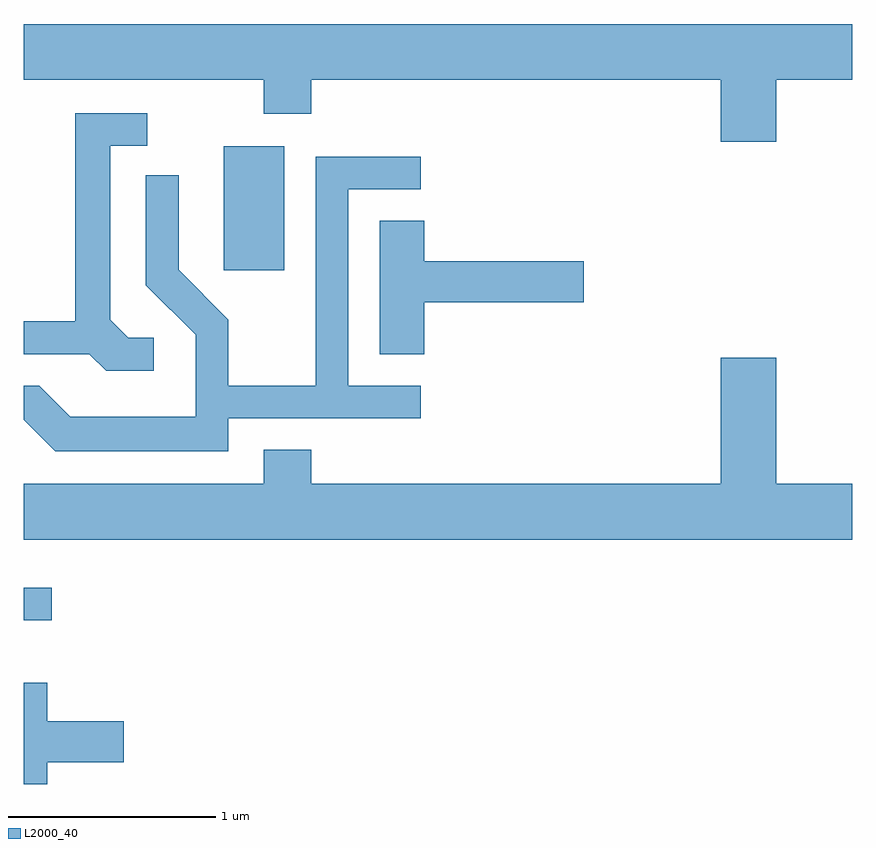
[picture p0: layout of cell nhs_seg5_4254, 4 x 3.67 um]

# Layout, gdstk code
import gdstk
lib = gdstk.Library(unit=1e-6, precision=1e-09)
def R(c, l, rs):  # rectangles x0, y0, x1, y1
    for r in rs: c.add(gdstk.rectangle(r[:2], r[2:], *l))
def P(c, l, *ps):  # polygons
    for p in ps: c.add(gdstk.Polygon(p, *l))
L2000_40 = (2000, 40)

nhs_seg5_4254 = lib.new_cell('nhs_seg5_4254')
R(nhs_seg5_4254, L2000_40, [(311.611,1443.086,311.748,1443.244), (312.576,1444.776,312.869,1445.374)])
P(nhs_seg5_4254, L2000_40, [(315.244,1445.696),(315.611,1445.696),(315.611,1445.964),(311.611,1445.964),(311.611,1445.696),(312.771,1445.696),(312.771,1445.531),(312.999,1445.531),(312.999,1445.696),(314.976,1445.696),(314.976,1445.396),(315.244,1445.396)],
  [(312.238,1444.449),(312.117,1444.449),(312.029,1444.537),(312.029,1445.376),(312.208,1445.376),(312.208,1445.534),(311.861,1445.534),(311.861,1444.529),(311.611,1444.529),(311.611,1444.371),(311.929,1444.371),(312.009,1444.291),(312.238,1444.291)],
  [(312.599,1444.061),(313.528,1444.061),(313.528,1444.219),(313.179,1444.219),(313.179,1445.166),(313.528,1445.166),(313.528,1445.324),(313.021,1445.324),(313.021,1444.219),(312.599,1444.219),(312.599,1444.537),(312.359,1444.777),(312.359,1445.233),(312.201,1445.233),(312.201,1444.704),(312.441,1444.464),(312.441,1444.069),(311.837,1444.069),(311.687,1444.219),(311.611,1444.219),(311.611,1444.054),(311.764,1443.901),(312.599,1443.901)],
  [(313.544,1444.621),(314.314,1444.621),(314.314,1444.819),(313.544,1444.819),(313.544,1445.014),(313.331,1445.014),(313.331,1444.371),(313.544,1444.371)],
  [(315.611,1443.744),(315.244,1443.744),(315.244,1444.354),(314.976,1444.354),(314.976,1443.744),(312.999,1443.744),(312.999,1443.909),(312.771,1443.909),(312.771,1443.744),(311.611,1443.744),(311.611,1443.476),(315.611,1443.476)],
  [(311.724,1442.401),(312.094,1442.401),(312.094,1442.599),(311.724,1442.599),(311.724,1442.784),(311.611,1442.784),(311.611,1442.296),(311.724,1442.296)])

lib.write_gds('nhs_seg5_4254.gds')
